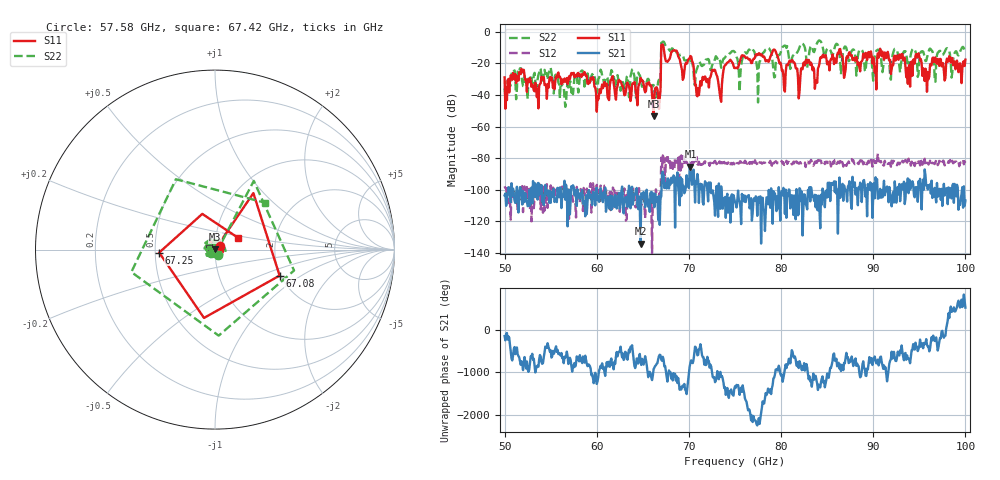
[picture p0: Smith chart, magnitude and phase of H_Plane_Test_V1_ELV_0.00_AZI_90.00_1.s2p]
! 11/27/2026 8:01:19 AM
! C:\ANRITSUVNA\TEMP\TEMP.S2P
! CHANNEL.1
! TR.MEASUREMENT
! RAW.DATA
# HZ S RI R 50.0
! FREQ.HZ  S11RE  S11IM  S21RE  S21IM  S12RE  S12IM  S22RE  S22IM
!; PortSelection: Port_12
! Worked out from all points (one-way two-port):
!   601 points, 50 GHz to 100 GHz, reference 50 ohm
!   highest |S21| = -85.31 dB at 70.17 GHz (marker M1); lowest = -134.0 dB at 64.75 GHz (marker M2)
!   lowest |S11| = -53.7 dB at 66.17 GHz (marker M3), VSWR 1.00, Z = 50.1 + j0.163 ohm
!   |S11| at or under -10 dB: start of sweep to 67 GHz; 67.24 GHz to end of sweep
!   |S22| runs from -47.6 to -5.6 dB; largest |S21 - S12| = 0.00015
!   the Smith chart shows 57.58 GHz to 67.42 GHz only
!   S11 on the Smith chart (normalised r, x): 57.58 GHz: 1.06, +0.05; 67.08 GHz: 1.97, -0.67; 67.25 GHz: 0.53, -0.02; 67.42 GHz: 1.29, +0.17
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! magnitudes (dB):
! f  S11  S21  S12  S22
! 50 GHz  -29.0  -103.5  -97.8  -35.8
! 51.67 GHz  -26.2  -98.4  -101.4  -23.2
! 57.58 GHz  -29.0  -103.5  -106.5  -28.5
! 58.42 GHz  -27.0  -100.2  -100.4  -24.6
! 60.17 GHz  -42.9  -104.4  -101.7  -30.2
! 64.75 GHz  -29.3  -134.0  -103.9  -29.2
! 66.17 GHz  -53.7  -102.4  -101.7  -33.8
! 66.67 GHz  -41.7  -119.0  -108.2  -31.6
! 67.08 GHz  -8.2  -89.1  -85.7  -6.8
! 67.25 GHz  -10.1  -91.0  -79.6  -6.3
! 67.42 GHz  -16.8  -96.3  -95.4  -8.4
! 70.17 GHz  -15.5  -85.3  -84.1  -18.5
! 70.92 GHz  -40.9  -90.0  -83.8  -22.9
! 75 GHz  -23.1  -107.7  -82.7  -13.1
! 79.25 GHz  -11.4  -102.2  -82.7  -29.0
! 80.25 GHz  -27.8  -98.8  -82.6  -9.3
! 83.42 GHz  -24.4  -104.2  -83.9  -10.9
! 91.67 GHz  -16.6  -107.9  -83.4  -15.3
! 93.75 GHz  -33.0  -92.8  -81.2  -21.8
! 94.83 GHz  -14.9  -107.6  -82.9  -28.7
! 95.83 GHz  -38.0  -97.1  -82.9  -16.4
! 100 GHz  -17.8  -106.8  -82.9  -12.6
